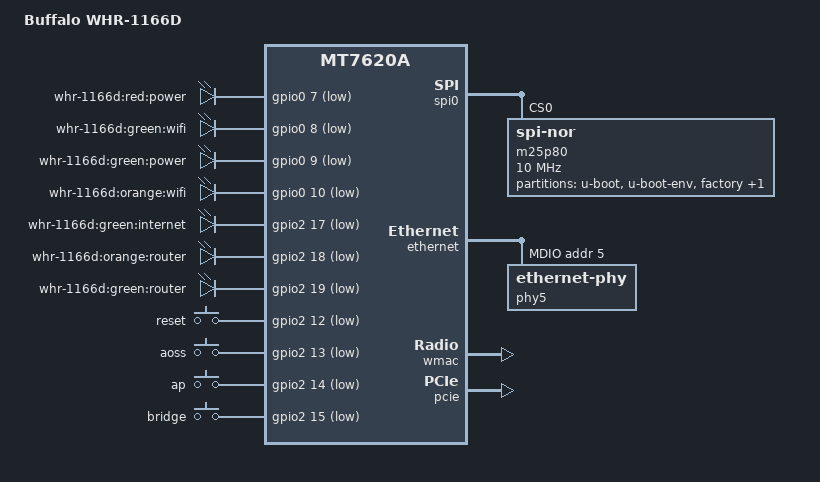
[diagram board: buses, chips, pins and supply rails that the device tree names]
/dts-v1/;

#include "mt7620a.dtsi"

/ {
	compatible = "ralink,mt7620a-soc";
	model = "Buffalo WHR-1166D";

	gpio-leds {
		compatible = "gpio-leds";

		power {
			label = "whr-1166d:red:power";
			gpios = <&gpio0 7 1>;
		};

		wifi {
			label = "whr-1166d:green:wifi";
			gpios = <&gpio0 8 1>;
		};

		power2 {
			label = "whr-1166d:green:power";
			gpios = <&gpio0 9 1>;
		};

		wifi2 {
			label = "whr-1166d:orange:wifi";
			gpios = <&gpio0 10 1>;
		};

		internet {
			label = "whr-1166d:green:internet";
			gpios = <&gpio2 17 1>;
		};

		router {
			label = "whr-1166d:orange:router";
			gpios = <&gpio2 18 1>;
		};

		router2 {
			label = "whr-1166d:green:router";
			gpios = <&gpio2 19 1>;
		};
	};

	gpio-keys-polled {
		compatible = "gpio-keys-polled";
		#address-cells = <1>;
		#size-cells = <0>;
		poll-interval = <20>;

		reset {
			label = "reset";
			gpios = <&gpio2 12 1>;
			linux,code = <0x198>;
		};

		aoss {
			label = "aoss";
			gpios = <&gpio2 13 1>;
			linux,code = <0x211>;
		};

		ap {
			label = "ap";
			gpios = <&gpio2 14 1>;
			linux,code = <0x100>;
			linux,input-type = <5>; /* EV_SW */
		};

		bridge {
			label = "bridge";
			gpios = <&gpio2 15 1>;
			linux,code = <0x100>;
			linux,input-type = <5>; /* EV_SW */
		};
	};
};

&gpio2 {
	status = "okay";
};

&spi0 {
	status = "okay";

	m25p80@0 {
		#address-cells = <1>;
		#size-cells = <1>;
		compatible = "jedec,spi-nor";
		reg = <0>;
		linux,modalias = "m25p80", "mx25l6405d";
		spi-max-frequency = <10000000>;

		partition@0 {
			label = "u-boot";
			reg = <0x0 0x30000>;
			read-only;
		};

		partition@30000 {
			label = "u-boot-env";
			reg = <0x30000 0x10000>;
			read-only;
		};

		factory: partition@40000 {
			label = "factory";
			reg = <0x40000 0x10000>;
			read-only;
		};

		partition@50000 {
			label = "firmware";
			reg = <0x50000 0xfb0000>;
		};
	};
};

&pinctrl {
	state_default: pinctrl0 {
		gpio {
			ralink,group = "i2c", "uartf", "wled", "nd_sd";
			ralink,function = "gpio";
		};
	};
};

&ethernet {
	pinctrl-names = "default";
	pinctrl-0 = <&rgmii1_pins &mdio_pins>;

	port@5 {
		status = "okay";
		phy-handle = <&phy5>;
		phy-mode = "rgmii";
	};

	mdio-bus {
		status = "okay";

		phy5: ethernet-phy@5 {
			reg = <5>;
			phy-mode = "rgmii";
		};
	};
};

&gsw {
	mediatek,port4 = "ephy";
};

&wmac {
	ralink,mtd-eeprom = <&factory 0>;
};

&pcie {
	status = "okay";

	pcie-bridge {
		mt76@0,0 {
			reg = <0x0000 0 0 0 0>;
			device_type = "pci";
			mediatek,mtd-eeprom = <&factory 32768>;
			mediatek,2ghz = <0>;
		};
	};
};
